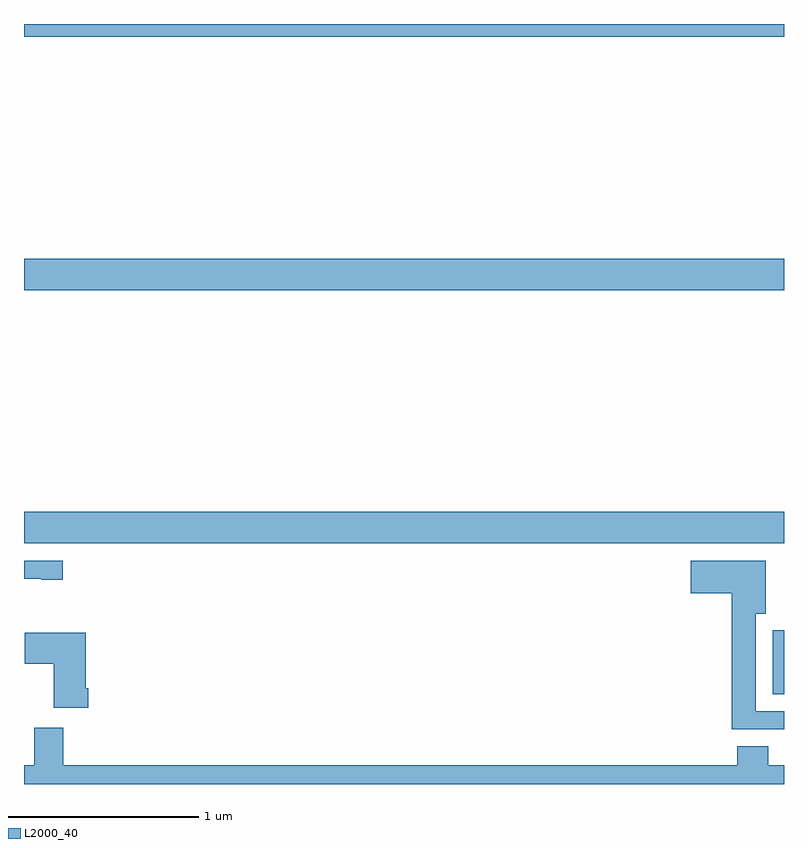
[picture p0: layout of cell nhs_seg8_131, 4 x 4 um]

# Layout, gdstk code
import gdstk
lib = gdstk.Library(unit=1e-6, precision=1e-09)
def R(c, l, rs):  # rectangles x0, y0, x1, y1
    for r in rs: c.add(gdstk.rectangle(r[:2], r[2:], *l))
def P(c, l, *ps):  # polygons
    for p in ps: c.add(gdstk.Polygon(p, *l))
L2000_40 = (2000, 40)

nhs_seg8_131 = lib.new_cell('nhs_seg8_131')
R(nhs_seg8_131, L2000_40, [(122.942,1114.373,123,1114.708), (119,1115.168,123,1115.332), (119,1116.5,123,1116.664), (119,1117.832,123,1117.9)])
P(nhs_seg8_131, L2000_40, [(119.203,1115.076),(119,1115.076),(119,1114.98),(119.09,1114.98),(119.09,1114.975),(119.203,1114.975)],
  [(123,1114.284),(122.851,1114.284),(122.851,1114.796),(122.905,1114.796),(122.905,1115.074),(122.508,1115.074),(122.508,1114.904),(122.726,1114.904),(122.726,1114.187),(123,1114.187)],
  [(119.339,1114.405),(119.326,1114.405),(119.326,1114.696),(119.004,1114.696),(119.004,1114.534),(119.156,1114.534),(119.156,1114.301),(119.339,1114.301)],
  [(123,1114),(122.918,1114),(122.918,1114.099),(122.753,1114.099),(122.753,1114),(119.207,1114),(119.207,1114.195),(119.054,1114.195),(119.054,1114),(119,1114),(119,1113.9),(123,1113.9)])

lib.write_gds('nhs_seg8_131.gds')
